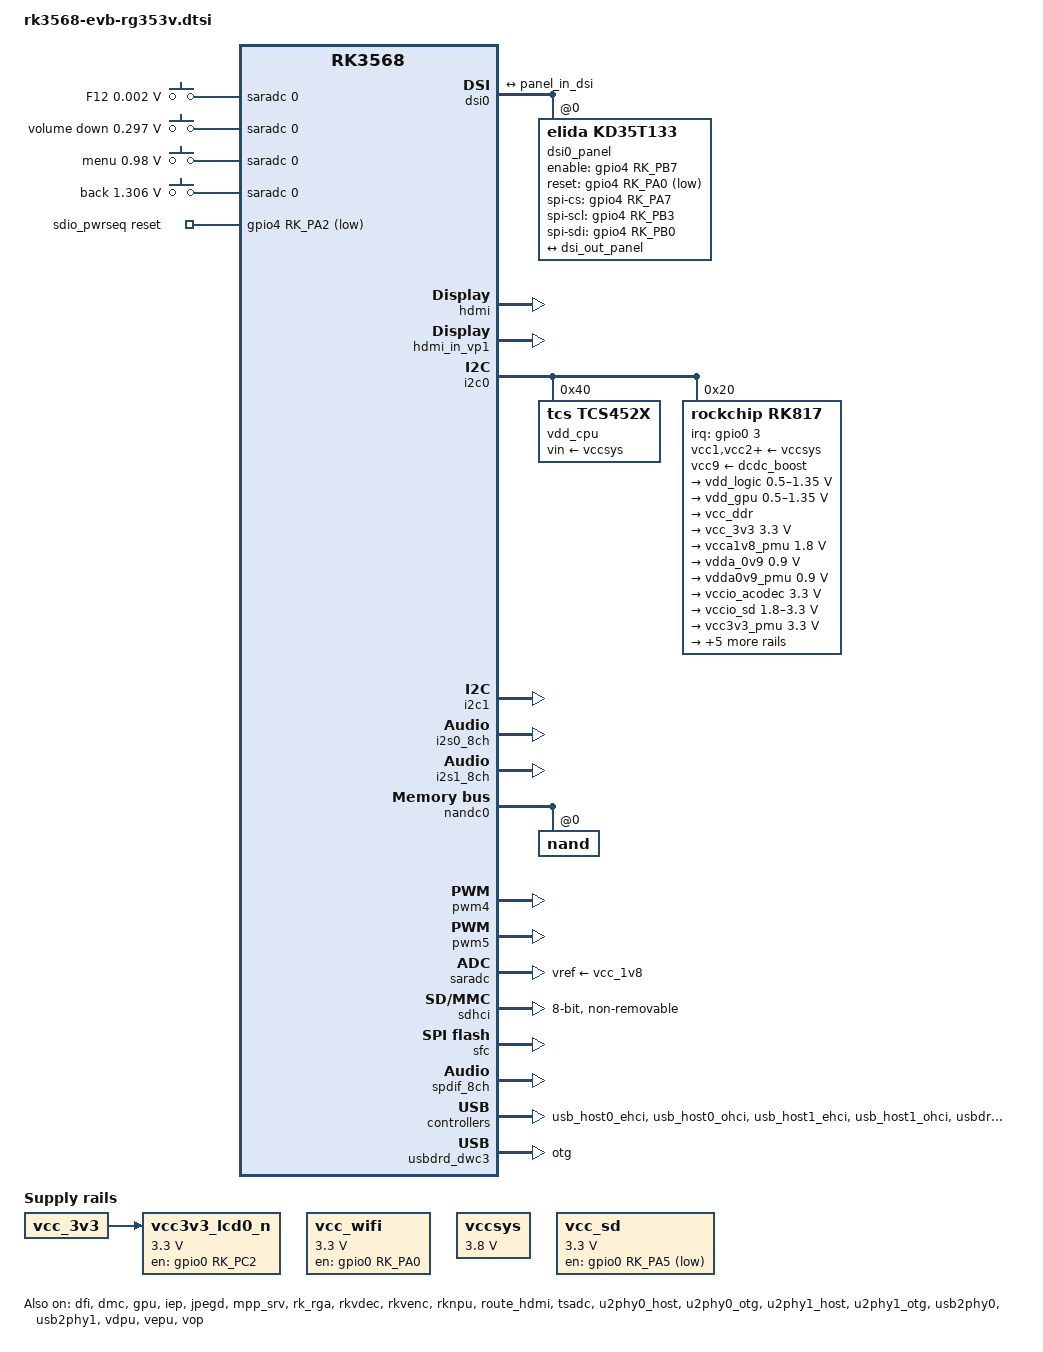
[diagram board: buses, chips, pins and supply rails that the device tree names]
// SPDX-License-Identifier: (GPL-2.0+ OR MIT)
/*
 * Copyright (c) 2020 Rockchip Electronics Co., Ltd.
 *
 */

#include <dt-bindings/gpio/gpio.h>
#include <dt-bindings/pwm/pwm.h>
#include <dt-bindings/pinctrl/rockchip.h>
#include <dt-bindings/input/rk-input.h>
#include <dt-bindings/display/drm_mipi_dsi.h>
#include <dt-bindings/sensor-dev.h>
/ {

	adc_keys: adc-keys {
		compatible = "adc-keys";
		io-channels = <&saradc 0>;
		io-channel-names = "buttons";
		keyup-threshold-microvolt = <1800000>;
		poll-interval = <100>;

		recovery-key {
			label = "F12";
			linux,code = <KEY_F12>;
			press-threshold-microvolt = <1750>;
		};

		vol-down-key {
			label = "volume down";
			linux,code = <KEY_VOLUMEDOWN>;
			press-threshold-microvolt = <297500>;
		};

		menu-key {
			label = "menu";
			linux,code = <KEY_MENU>;
			press-threshold-microvolt = <980000>;
		};

		back-key {
			label = "back";
			linux,code = <KEY_BACK>;
			press-threshold-microvolt = <1305500>;
		};
	};

	audiopwmout_diff: audiopwmout-diff {
		status = "disabled";
		compatible = "simple-audio-card";
		simple-audio-card,format = "i2s";
		simple-audio-card,name = "rockchip,audiopwmout-diff";
		simple-audio-card,mclk-fs = <256>;
		simple-audio-card,bitclock-master = <&master>;
		simple-audio-card,frame-master = <&master>;
		simple-audio-card,cpu {
			sound-dai = <&i2s3_2ch>;
		};
		master: simple-audio-card,codec {
			sound-dai = <&dig_acodec>;
		};
	};

	backlight: backlight {
		compatible = "pwm-backlight";
		pwms = <&pwm4 0 25000 0>;
		brightness-levels = <
			  0   1   2   3   4   5   6   7
			  8   9  10  11  12  13  14  15
			 16  17  18  19  20  21  22  23
			 24  25  26  27  28  29  30  31
			 32  33  34  35  36  37  38  39
			 40  41  42  43  44  45  46  47
			 48  49  50  51  52  53  54  55
			 56  57  58  59  60  61  62  63
			 64  65  66  67  68  69  70  71
			 72  73  74  75  76  77  78  79
			 80  81  82  83  84  85  86  87
			 88  89  90  91  92  93  94  95
			 96  97  98  99 100 101 102 103
			104 105 106 107 108 109 110 111
			112 113 114 115 116 117 118 119
			120 121 122 123 124 125 126 127
			128 129 130 131 132 133 134 135
			136 137 138 139 140 141 142 143
			144 145 146 147 148 149 150 151
			152 153 154 155 156 157 158 159
			160 161 162 163 164 165 166 167
			168 169 170 171 172 173 174 175
			176 177 178 179 180 181 182 183
			184 185 186 187 188 189 190 191
			192 193 194 195 196 197 198 199
			200 201 202 203 204 205 206 207
			208 209 210 211 212 213 214 215
			216 217 218 219 220 221 222 223
			224 225 226 227 228 229 230 231
			232 233 234 235 236 237 238 239
			240 241 242 243 244 245 246 247
			248 249 250 251 252 253 254 255>;
		default-brightness-level = <200>;
		status = "disabled";
	};

	charge-animation {
		compatible = "rockchip,uboot-charge";
		rockchip,uboot-charge-on = <1>; 
		rockchip,android-charge-on = <0>;
		rockchip,uboot-low-power-voltage = <3450>;
		rockchip,screen-on-voltage = <3400>;
		status = "okay";
	};

	hdmi_sound: hdmi-sound {
		compatible = "simple-audio-card";
		simple-audio-card,format = "i2s";
		simple-audio-card,mclk-fs = <128>;
		simple-audio-card,name = "rockchip,hdmi";
		//status = "disabled";
		status = "okay";

		simple-audio-card,cpu {
				sound-dai = <&i2s0_8ch>;
		};
		simple-audio-card,codec {
				sound-dai = <&hdmi>;
		};
	};

	pdmics: dummy-codec {
		status = "disabled";
		compatible = "rockchip,dummy-codec";
		#sound-dai-cells = <0>;
	};

	pdm_mic_array: pdm-mic-array {
		status = "disabled";
		compatible = "simple-audio-card";
		simple-audio-card,name = "rockchip,pdm-mic-array";
		simple-audio-card,cpu {
			sound-dai = <&pdm>;
		};
		simple-audio-card,codec {
			sound-dai = <&pdmics>;
		};
	};
	vcc_wifi: vcc-wifi {
		compatible = "regulator-gpio";
		enable-active-high;
		regulator-always-on;
		regulator-boot-on;		
		enable-gpio = <&gpio0 RK_PA0 GPIO_ACTIVE_HIGH>;
		regulator-min-microvolt = <3300000>;
		regulator-max-microvolt = <3300000>;
		states = <3300000 0x0
			3300000 0x1>;
		pinctrl-names = "default";
		pinctrl-0 = <&vcc_wifi_h>;
		regulator-name = "vcc_wifi";
	};
	rk817-sound {
		status = "okay";
		compatible = "simple-audio-card";
		simple-audio-card,format = "i2s";
		simple-audio-card,name = "rockchip,rk817-codec";
		simple-audio-card,mclk-fs = <256>;

		simple-audio-card,cpu {
			sound-dai = <&i2s1_8ch>;
		};
		simple-audio-card,codec {
			sound-dai = <&rk817_codec>;
		};
	};

	spdif-sound {
		status = "disabled";
		compatible = "simple-audio-card";
		simple-audio-card,name = "ROCKCHIP,SPDIF";
		simple-audio-card,cpu {
				sound-dai = <&spdif_8ch>;
		};
		simple-audio-card,codec {
				sound-dai = <&spdif_out>;
		};
	};

	spdif_out: spdif-out {
			status = "disabled";
			compatible = "linux,spdif-dit";
			#sound-dai-cells = <0>;
	};

	vad_sound: vad-sound {
		status = "disabled";
		compatible = "rockchip,multicodecs-card";
		rockchip,card-name = "rockchip,rk3568-vad";
		rockchip,cpu = <&i2s1_8ch>;
		rockchip,codec = <&rk817_codec>, <&vad>;
	};

	vccsys: vccsys {
		compatible = "regulator-fixed";
		regulator-name = "vcc3v8_sys";
		regulator-always-on;
		regulator-boot-on;
		regulator-min-microvolt = <3800000>;
		regulator-max-microvolt = <3800000>;
	};

	
	vcc3v3_lcd0_n: vcc3v3-lcd0-n {
		compatible = "regulator-fixed";
		regulator-name = "vcc3v3_lcd0_n";
		regulator-boot-on;
		regulator-min-microvolt = <3300000>;
		regulator-max-microvolt = <3300000>;
		enable-active-high;
		gpio = <&gpio0 RK_PC2 GPIO_ACTIVE_HIGH>;
		vin-supply = <&vcc_3v3>;

		regulator-state-mem {
			regulator-off-in-suspend;
		};
	};

	sdio_pwrseq: sdio-pwrseq {
		status = "okay";
		compatible = "mmc-pwrseq-simple";
		clocks = <&rk817 1>;
		clock-names = "ext_clock";
		pinctrl-names = "default";
		pinctrl-0 = <&wifi_enable_h>;

		/*
		 * On the module itself this is one of these (depending
		 * on the actual card populated):
		 * - SDIO_RESET_L_WL_REG_ON
		 * - PDN (power down when low)
		 */
		post-power-on-delay-ms = <200>;
		reset-gpios = <&gpio4 RK_PA2 GPIO_ACTIVE_LOW>;
	};


	vcc_sd: vcc-sd {
		status = "okay";
		compatible = "regulator-gpio";
		enable-active-low;
		enable-gpio = <&gpio0 RK_PA5 GPIO_ACTIVE_LOW>;
		regulator-min-microvolt = <3300000>;
		regulator-max-microvolt = <3300000>;
		pinctrl-names = "default";
		pinctrl-0 = <&vcc_sd_h>;
		regulator-name = "vcc_sd";
		states = <3300000 0x0
			3300000 0x1>;
	};
};

/*
&bus_npu {
	bus-supply = <&vdd_logic>;
	pvtm-supply = <&vdd_cpu>;
	status = "okay";
};*/

&can0 {
	assigned-clocks = <&cru CLK_CAN0>;
	assigned-clock-rates = <150000000>;
	pinctrl-names = "default";
	pinctrl-0 = <&can0m1_pins>;
	status = "disabled";
};

&can1 {
	assigned-clocks = <&cru CLK_CAN1>;
	assigned-clock-rates = <150000000>;
	pinctrl-names = "default";
	pinctrl-0 = <&can1m1_pins>;
	status = "disabled";
};

&can2 {
	assigned-clocks = <&cru CLK_CAN2>;
	assigned-clock-rates = <150000000>;
	pinctrl-names = "default";
	pinctrl-0 = <&can2m1_pins>;
	status = "disabled";
};

&cpu0 {
	cpu-supply = <&vdd_cpu>;
};

&dfi {
	status = "okay";
};

&dmc {
	center-supply = <&vdd_logic>;
	status = "okay";
};

&dsi0 {
	status = "okay";
	//rockchip,lane-rate = <1000>;
	dsi0_panel: panel@0 {
		status = "okay";
		compatible = "elida,kd35t133", "simple-panel-oled-dsi";
		reg = <0>;
		//backlight = <&backlight>;
		//power-supply = <&vcc_lcd>;
		enable-gpios = <&gpio4 RK_PB7 GPIO_ACTIVE_HIGH>;
		reset-gpios = <&gpio4 RK_PA0 GPIO_ACTIVE_LOW>;

		spi-cs-gpios = <&gpio4 RK_PA7 GPIO_ACTIVE_HIGH>;//<&gpio4 RK_PA6 GPIO_ACTIVE_HIGH>;
		spi-scl-gpios = <&gpio4 RK_PB3 GPIO_ACTIVE_HIGH>;     //<&gpio4 RK_PB1 GPIO_ACTIVE_HIGH>;
		spi-sdi-gpios = <&gpio4 RK_PB0 GPIO_ACTIVE_HIGH>;//<&gpio4 RK_PB5 GPIO_ACTIVE_HIGH>;

		pinctrl-names = "default";
		pinctrl-0 = <&lcd_enable_gpio>, <&lcd_rst_gpio>;
		reset-delay-ms = <1>;
		init-delay-ms = <20>; 
		enable-delay-ms = <120>;
		prepare-delay-ms = <2>;
		unprepare-delay-ms = <20>;
		disable-delay-ms = <50>;
		dsi,flags = <(MIPI_DSI_MODE_VIDEO           |
			      MIPI_DSI_MODE_VIDEO_BURST     |
			      MIPI_DSI_MODE_LPM             |
			      MIPI_DSI_MODE_EOT_PACKET)>;
		dsi,format = <MIPI_DSI_FMT_RGB888>;
		dsi,lanes  = <2>;
		rockchip,cmd-type = "spi";
		panel-init-sequence = [
                        15 00 02 ff 30
                        15 00 02 ff 52
                        15 00 02 ff 01
                        15 00 02 e3 00
                        15 00 02 03 40
                        15 00 02 04 00
                        15 00 02 05 03
                        15 00 02 24 12
                        15 00 02 25 1e
                        15 00 02 26 28
                        15 00 02 27 52
                        15 00 02 28 57
                        15 00 02 29 01
                        15 00 02 2a df
                        15 00 02 38 9c
                        15 00 02 39 a7
                        15 00 02 3a 53
                        15 00 02 44 00
                        15 00 02 49 3c
                        15 00 02 59 fe
                        15 00 02 5c 00
                        15 00 02 91 77
                        15 00 02 92 77
                        15 00 02 a0 55
                        15 00 02 a1 50
                        15 00 02 a4 9c
                        15 00 02 a7 02
                        15 00 02 a8 01
                        15 00 02 a9 01
                        15 00 02 aa fc
                        15 00 02 ab 28
                        15 00 02 ac 06
                        15 00 02 ad 06
                        15 00 02 ae 06
                        15 00 02 af 03
                        15 00 02 b0 08
                        15 00 02 b1 26
                        15 00 02 b2 28
                        15 00 02 b3 28
                        15 00 02 b4 33
                        15 00 02 b5 08
                        15 00 02 b6 26
                        15 00 02 b7 08
                        15 00 02 b8 26
                        15 00 02 ff 30
                        15 00 02 ff 52
                        15 00 02 ff 02
                        15 00 02 b0 0b
                        15 00 02 b1 16
                        15 00 02 b2 17
                        15 00 02 b3 2c
                        15 00 02 b4 32
                        15 00 02 b5 3b
                        15 00 02 b6 29
                        15 00 02 b7 40
                        15 00 02 b8 0d
                        15 00 02 b9 05
                        15 00 02 ba 12
                        15 00 02 bb 10
                        15 00 02 bc 12
                        15 00 02 bd 15
                        15 00 02 be 19
                        15 00 02 bf 0e
                        15 00 02 c0 16
                        15 00 02 c1 0a
                        15 00 02 d0 0c
                        15 00 02 d1 17
                        15 00 02 d2 14
                        15 00 02 d3 2e
                        15 00 02 d4 32
                        15 00 02 d5 3c
                        15 00 02 d6 22
                        15 00 02 d7 3d
                        15 00 02 d8 0d
                        15 00 02 d9 07
                        15 00 02 da 13
                        15 00 02 db 13
                        15 00 02 dc 11
                        15 00 02 dd 15
                        15 00 02 de 19
                        15 00 02 df 10
                        15 00 02 e0 17
                        15 00 02 e1 0a
                        15 00 02 ff 30
                        15 00 02 ff 52
                        15 00 02 ff 03
                        15 00 02 00 2a
                        15 00 02 01 2a
                        15 00 02 02 2a
                        15 00 02 03 2a
                        15 00 02 04 61
                        15 00 02 05 80
                        15 00 02 06 c7
                        15 00 02 07 01
                        15 00 02 08 82
                        15 00 02 09 83
                        15 00 02 30 2a
                        15 00 02 31 2a
                        15 00 02 32 2a
                        15 00 02 33 2a
                        15 00 02 34 61
                        15 00 02 35 c5
                        15 00 02 36 80
                        15 00 02 37 23
                        15 00 02 40 82
                        15 00 02 41 83
                        15 00 02 42 80
                        15 00 02 43 81
                        15 00 02 44 11
                        15 00 02 45 f2
                        15 00 02 46 f1
                        15 00 02 47 11
                        15 00 02 48 f4
                        15 00 02 49 f3
                        15 00 02 50 02
                        15 00 02 51 01
                        15 00 02 52 04
                        15 00 02 53 03
                        15 00 02 54 11
                        15 00 02 55 f6
                        15 00 02 56 f5
                        15 00 02 57 11
                        15 00 02 58 f8
                        15 00 02 59 f7
                        15 00 02 7e 02
                        15 00 02 7f 80
                        15 00 02 e0 5a
                        15 00 02 b1 00
                        15 00 02 b4 0e
                        15 00 02 b5 0f
                        15 00 02 b6 04
                        15 00 02 b7 07
                        15 00 02 b8 06
                        15 00 02 b9 05
                        15 00 02 ba 0f
                        15 00 02 c7 00
                        15 00 02 ca 0e
                        15 00 02 cb 0f
                        15 00 02 cc 04
                        15 00 02 cd 07
                        15 00 02 ce 06
                        15 00 02 cf 05
                        15 00 02 d0 0f
                        15 00 02 81 0f
                        15 00 02 84 0e
                        15 00 02 85 0f
                        15 00 02 86 07
                        15 00 02 87 04
                        15 00 02 88 05
                        15 00 02 89 06
                        15 00 02 8a 00
                        15 00 02 97 0f
                        15 00 02 9a 0e
                        15 00 02 9b 0f
                        15 00 02 9c 07
                        15 00 02 9d 04
                        15 00 02 9e 05
                        15 00 02 9f 06
                        15 00 02 a0 00
                        15 00 02 ff 30
                        15 00 02 ff 52
                        15 00 02 ff 02
                        15 00 02 01 01
                        15 00 02 02 da
                        15 00 02 03 ba
                        15 00 02 04 a8
                        15 00 02 05 9a
                        15 00 02 06 70
                        15 00 02 07 ff
                        15 00 02 08 91
                        15 00 02 09 90
                        15 00 02 0a ff
                        15 00 02 0b 8f
                        15 00 02 0c 60
                        15 00 02 0d 58
                        15 00 02 0e 48
                        15 00 02 0f 38
                        15 00 02 10 2b
                        15 00 02 ff 30
                        15 00 02 ff 52
                        15 00 02 ff 00
                        15 00 02 36 02
                        15 00 02 3a 70 05 c8 01 11 05 0a 01 29
		];

		panel-exit-sequence = [
			05 14 01 28
			05 0A 01 10
		];

		disp_timings0: display-timings {
			native-mode = <&dsi0_timing0>;
			dsi0_timing0: timing0 {
				clock-frequency = <33500000>;
				hactive = <960>;
				vactive = <544>;
				hfront-porch = <10>;
				hsync-len = <2>;
				hback-porch = <10>;
				vfront-porch = <10>;
				vsync-len = <2>;
				vback-porch = <10>;
				hsync-active = <0>;
				vsync-active = <0>;
				de-active = <0>;
				pixelclk-active = <0>;
			};
		};

		ports {
			#address-cells = <1>;
			#size-cells = <0>;

			port@0 {
				reg = <0>;
				panel_in_dsi: endpoint {
					remote-endpoint = <&dsi_out_panel>;
				};
			};
		};
	};

	ports {
		#address-cells = <1>;
		#size-cells = <0>;

		port@1 {
			reg = <1>;
			dsi_out_panel: endpoint {
				remote-endpoint = <&panel_in_dsi>;
			};
		};
	};

};

&gpu {
	mali-supply = <&vdd_gpu>;
	status = "okay";
};

&hdmi {
	status = "okay";
	//status = "disabled";
	rockchip,phy-table =
		<92812500  0x8009 0x0000 0x0270>,
		<165000000 0x800b 0x0000 0x026d>,
		<185625000 0x800b 0x0000 0x01ed>,
		<297000000 0x800b 0x0000 0x01ad>,
		<594000000 0x8029 0x0000 0x0088>,
		<000000000 0x0000 0x0000 0x0000>;
};

&hdmi_in_vp0 {
	status = "disabled";
	//status = "disabled";
};

&hdmi_in_vp1 {
	status = "okay";
};

&hdmi_sound {
	status = "okay";
	//status = "disabled";
};

&i2c0 {
	status = "okay";

	vdd_cpu: tcs4525@40 {
		compatible = "tcs,tcs452x";
		reg = <0x40>;
		vin-supply = <&vccsys>;
		regulator-compatible = "fan53555-reg";
		regulator-name = "vdd_cpu";
		regulator-min-microvolt = <712500>;
		regulator-max-microvolt = <1390000>;
		regulator-init-microvolt = <900000>;
		regulator-ramp-delay = <2300>;
		fcs,suspend-voltage-selector = <1>;
		regulator-boot-on;
		regulator-always-on;
		regulator-state-mem {
			regulator-off-in-suspend;
		};
	};

	rk817: pmic@20 {
		compatible = "rockchip,rk817";
		reg = <0x20>;
		interrupt-parent = <&gpio0>;
		interrupts = <3 IRQ_TYPE_LEVEL_LOW>;

		pinctrl-names = "default", "pmic-sleep",
				"pmic-power-off", "pmic-reset";
		pinctrl-0 = <&pmic_int>;
		pinctrl-1 = <&soc_slppin_slp>, <&rk817_slppin_slp>;
		pinctrl-2 = <&soc_slppin_gpio>, <&rk817_slppin_pwrdn>;
		pinctrl-3 = <&soc_slppin_gpio>, <&rk817_slppin_rst>;

		rockchip,system-power-controller;
		wakeup-source;
		#clock-cells = <1>;
		clock-output-names = "rk808-clkout1", "rk808-clkout2";
		//fb-inner-reg-idxs = <2>;
		/* 1: rst regs (default in codes), 0: rst the pmic */
		pmic-reset-func = <0>;
		/* not save the PMIC_POWER_EN register in uboot */
		not-save-power-en = <1>;

		vcc1-supply = <&vccsys>;
		vcc2-supply = <&vccsys>;
		vcc3-supply = <&vccsys>;
		vcc4-supply = <&vccsys>;
		vcc5-supply = <&vccsys>;
		vcc6-supply = <&vccsys>;
		vcc7-supply = <&vccsys>;
		vcc8-supply = <&vccsys>;
		vcc9-supply = <&dcdc_boost>;

		pwrkey {
			status = "okay";
		};

		pinctrl_rk8xx: pinctrl_rk8xx {
			gpio-controller;
			#gpio-cells = <2>;

			rk817_slppin_null: rk817_slppin_null {
				pins = "gpio_slp";
				function = "pin_fun0";
			};

			rk817_slppin_slp: rk817_slppin_slp {
				pins = "gpio_slp";
				function = "pin_fun1";
			};

			rk817_slppin_pwrdn: rk817_slppin_pwrdn {
				pins = "gpio_slp";
				function = "pin_fun2";
			};

			rk817_slppin_rst: rk817_slppin_rst {
				pins = "gpio_slp";
				function = "pin_fun3";
			};
		};

		regulators {
			vdd_logic: DCDC_REG1 {
				regulator-always-on;
				regulator-boot-on;
				regulator-min-microvolt = <500000>;
				regulator-max-microvolt = <1350000>;
				regulator-init-microvolt = <900000>;
				regulator-ramp-delay = <6001>;
				regulator-initial-mode = <0x2>;
				regulator-name = "vdd_logic";
				regulator-state-mem {
					regulator-off-in-suspend;
					regulator-suspend-microvolt = <900000>;
				};
			};

			vdd_gpu: DCDC_REG2 {
				regulator-always-on;
				regulator-boot-on;
				regulator-min-microvolt = <500000>;
				regulator-max-microvolt = <1350000>;
				regulator-init-microvolt = <900000>;
				regulator-ramp-delay = <6001>;
				regulator-initial-mode = <0x2>;
				regulator-name = "vdd_gpu";
				regulator-state-mem {
					regulator-off-in-suspend;
				};
			};

			vcc_ddr: DCDC_REG3 {
				regulator-always-on;
				regulator-boot-on;
				regulator-initial-mode = <0x2>;
				regulator-name = "vcc_ddr";
				regulator-state-mem {
					regulator-on-in-suspend;
				};
			};

			vcc_3v3: DCDC_REG4 {
				regulator-always-on;
				regulator-boot-on;
				regulator-min-microvolt = <3300000>;
				regulator-max-microvolt = <3300000>;
				regulator-initial-mode = <0x2>;
				regulator-name = "vcc_3v3";
				regulator-state-mem {
					regulator-on-in-suspend;
					regulator-suspend-microvolt = <3300000>;
				};
			};

			vcca1v8_pmu: LDO_REG1 {
				regulator-always-on;
				regulator-boot-on;
				regulator-min-microvolt = <1800000>;
				regulator-max-microvolt = <1800000>;
				regulator-name = "vcca1v8_pmu";
				regulator-state-mem {
					regulator-on-in-suspend;
					regulator-suspend-microvolt = <1800000>;
				};
			};

			vdda_0v9: LDO_REG2 {
				regulator-always-on;
				regulator-boot-on;
				regulator-min-microvolt = <900000>;
				regulator-max-microvolt = <900000>;
				regulator-name = "vdda_0v9";
				regulator-state-mem {
					regulator-off-in-suspend;
				};
			};

			vdda0v9_pmu: LDO_REG3 {
				regulator-always-on;
				regulator-boot-on;
				regulator-min-microvolt = <900000>;
				regulator-max-microvolt = <900000>;
				regulator-name = "vdda0v9_pmu";
				regulator-state-mem {
					regulator-on-in-suspend;
					regulator-suspend-microvolt = <900000>;
				};
			};

			vccio_acodec: LDO_REG4 {
				regulator-always-on;
				regulator-boot-on;
				regulator-min-microvolt = <3300000>;
				regulator-max-microvolt = <3300000>;
				regulator-name = "vccio_acodec";
				regulator-state-mem {
					regulator-off-in-suspend;
				};
			};

			vccio_sd: LDO_REG5 {
				regulator-always-on;
				regulator-boot-on;
				regulator-min-microvolt = <1800000>;
				regulator-max-microvolt = <3300000>;
				regulator-name = "vccio_sd";
				regulator-state-mem {
					regulator-off-in-suspend;
				};
			};

			vcc3v3_pmu: LDO_REG6 {
				regulator-always-on;
				regulator-boot-on;
				regulator-min-microvolt = <3300000>;
				regulator-max-microvolt = <3300000>;
				regulator-name = "vcc3v3_pmu";
				regulator-state-mem {
					regulator-on-in-suspend;
					regulator-suspend-microvolt = <3000000>;
				};
			};

			vcc_1v8: LDO_REG7 {
				regulator-always-on;
				regulator-boot-on;
				regulator-min-microvolt = <1800000>;
				regulator-max-microvolt = <1800000>;
				regulator-name = "vcc_1v8";
				regulator-state-mem {
					regulator-off-in-suspend;
				};
			};

			vcc1v8_dvp: LDO_REG8 {
				regulator-always-on;
				regulator-boot-on;
				regulator-min-microvolt = <1800000>;
				regulator-max-microvolt = <3300000>;
				regulator-name = "vcc1v8_dvp";
				regulator-state-mem {
					regulator-off-in-suspend;
				};
			};

			vcc2v8_dvp: LDO_REG9 {
				regulator-always-on;
				regulator-boot-on;
				regulator-min-microvolt = <2800000>;
				regulator-max-microvolt = <2800000>;
				regulator-name = "vcc2v8_dvp";
				regulator-state-mem {
					regulator-off-in-suspend;
				};
			};

			dcdc_boost: BOOST {
				regulator-always-on;
				regulator-boot-on;
				regulator-min-microvolt = <4700000>;
				regulator-max-microvolt = <5400000>;
				regulator-name = "boost";
				regulator-state-mem {
					regulator-off-in-suspend;
				};
			};

			otg_switch: OTG_SWITCH {
				regulator-name = "otg_switch";
				regulator-state-mem {
					regulator-off-in-suspend;
				};
			};

		};

		battery {
		   compatible = "rk817,battery";
		   ocv_table = <3400 3438 3479 3519 3550 3578 3598
				3613 3629 3647 3672 3713 3762 3807
				3852 3895 3939 3990 4035 4092 4172>;
		   design_capacity = <3151>;
		   design_qmax = <3465>;
		   bat_res = <117>;
		   sleep_enter_current = <300>;
		   sleep_exit_current = <300>;
		   sleep_filter_current = <100>;
		   power_off_thresd = <3400>;
		   zero_algorithm_vol = <3850>;
		   max_soc_offset = <60>;
		   monitor_sec = <5>;
		   sample_res = <10>;
		   virtual_power = <0>;
		};

		charger {
			compatible = "rk817,charger";
			min_input_voltage = <4500>;
			max_input_current = <1800>;
			max_chrg_current = <2000>;
			max_chrg_voltage = <4200>;
			chrg_term_mode = <0>;
			chrg_finish_cur = <300>;
			virtual_power = <0>;
			dc_det_adc = <0>;
			extcon = <&usb2phy0>;
		};

		rk817_codec: codec {
			#sound-dai-cells = <0>;
			compatible = "rockchip,rk817-codec";
			clocks = <&cru I2S1_MCLKOUT>;
			clock-names = "mclk";
			assigned-clocks = <&cru I2S1_MCLKOUT>, <&cru I2S1_MCLK_TX_IOE>;
			assigned-clock-rates = <12288000>;
			assigned-clock-parents = <&cru I2S1_MCLKOUT_TX>, <&cru I2S1_MCLKOUT_TX>;
			pinctrl-names = "default";
			pinctrl-0 = <&i2s1m0_mclk>;
			hp-volume = <20>;
			spk-volume = <3>;

                        spk-ctl-gpios = <&gpio4 RK_PC2 GPIO_ACTIVE_HIGH>;
			status = "okay";
		};
	};
	es8316: es8316@10 {
	        status = "disabled";
		#sound-dai-cells = <0>;
		compatible = "everest,es8316";
		reg = <0x10>;
		clocks = <&cru I2S1_MCLKOUT>;
		clock-names = "mclk";
		assigned-clocks = <&cru I2S1_MCLKOUT>, <&cru I2S1_MCLK_TX_IOE>;
		assigned-clock-rates = <11289600>;
		assigned-clock-parents = <&cru I2S1_MCLKOUT_TX>, <&cru I2S1_MCLKOUT_TX>;
		pinctrl-names = "default";
		pinctrl-0 = <&i2s1m0_mclk>;
		hp-det-gpio = <&gpio4 RK_PC6 GPIO_ACTIVE_HIGH>;		
		spk-con-gpio = <&gpio4 RK_PC2 GPIO_ACTIVE_HIGH>;
	};
};

&i2c1 {
	status = "okay";
};

&i2c5 {
	status = "disabled";
};

&i2s0_8ch {
	status = "okay";
};

&i2s1_8ch {
	status = "okay";
	rockchip,clk-trcm = <1>;
	pinctrl-names = "default";
	pinctrl-0 = <&i2s1m0_sclktx
		     &i2s1m0_lrcktx
		     &i2s1m0_sdi0
		     &i2s1m0_sdo0>;
};

&iep {
	status = "okay";
};

&iep_mmu {
	status = "okay";
};

&jpegd {
	status = "okay";
};

&jpegd_mmu {
	status = "okay";
};

&mpp_srv {
	status = "okay";
};

&nandc0 {
	#address-cells = <1>;
	#size-cells = <0>;
	status = "okay";

	nand@0 {
		reg = <0>;
		nand-bus-width = <8>;
		nand-ecc-mode = "hw";
		nand-ecc-strength = <16>;
		nand-ecc-step-size = <1024>;
	};
};

&pinctrl {
	lcd {
		lcd_rst_gpio: lcd-rst-gpio {
			rockchip,pins = <4 RK_PA0 RK_FUNC_GPIO &pcfg_pull_none>;
			
			
		};

		lcd_enable_gpio: lcd-enable-gpio {
			rockchip,pins = <0 RK_PC2 RK_FUNC_GPIO &pcfg_pull_none>,
					/* spi sdi */
					<4 RK_PB7 RK_FUNC_GPIO &pcfg_pull_none>,
					/* spi scl */
					<4 RK_PB0 RK_FUNC_GPIO &pcfg_pull_none>,
					/* spi cs */
					<4 RK_PB3 RK_FUNC_GPIO &pcfg_pull_none>;	
		};

	};

	pmic {
		pmic_int: pmic_int {
			rockchip,pins =
				<0 RK_PA3 RK_FUNC_GPIO &pcfg_pull_up>;
		};

		soc_slppin_gpio: soc_slppin_gpio {
			rockchip,pins =
				<0 RK_PA2 RK_FUNC_GPIO &pcfg_output_low>;
		};

		soc_slppin_slp: soc_slppin_slp {
			rockchip,pins =
				<0 RK_PA2 1 &pcfg_pull_up>;
		};

		soc_slppin_rst: soc_slppin_rst {
			rockchip,pins =
				<0 RK_PA2 2 &pcfg_pull_none>;
		};
	};

	touch {
		touch_gpio: touch-gpio {
			rockchip,pins =
				<0 RK_PB5 RK_FUNC_GPIO &pcfg_pull_up>,
				<0 RK_PB6 RK_FUNC_GPIO &pcfg_pull_none>;
		};
	};

	vcc-sd {
		vcc_sd_h: vcc-sd-h {
			rockchip,pins = <0 RK_PA5 RK_FUNC_GPIO &pcfg_pull_none>;
		};
	};
};

 /*
  * There are 10 independent IO domains in RK3566/RK3568, including PMUIO[0:2] and VCCIO[1:7].
  * 1/ PMUIO0 and PMUIO1 are fixed-level power domains which cannot be configured;
  * 2/ PMUIO2 and VCCIO1,VCCIO[3:7] domains require that their hardware power supply voltages
  *    must be consistent with the software configuration correspondingly
  *	a/ When the hardware IO level is connected to 1.8V, the software voltage configuration
  *	   should also be configured to 1.8V accordingly;
  *	b/ When the hardware IO level is connected to 3.3V, the software voltage configuration
  *	   should also be configured to 3.3V accordingly;
  * 3/ VCCIO2 voltage control selection (0xFDC20140)
  *	BIT[0]: 0x0: from GPIO_0A7 (default)
  *	BIT[0]: 0x1: from GRF
  *    Default is determined by Pin FLASH_VOL_SEL/GPIO0_A7:
  *	L:VCCIO2 must supply 3.3V
  *	H:VCCIO2 must supply 1.8V
  */
&pmu_io_domains {
	status = "okay";
	pmuio1-supply = <&vcc3v3_pmu>;
	pmuio2-supply = <&vcc3v3_pmu>;
	vccio1-supply = <&vccio_acodec>;
	vccio3-supply = <&vccio_sd>;
	vccio4-supply = <&vcc_1v8>;
	vccio5-supply = <&vcc_3v3>;
	vccio6-supply = <&vcc_1v8>;
	vccio7-supply = <&vcc_3v3>;
};

&pwm4 {
	status = "okay";
};

&pwm5 {
	status = "okay";
};

&rk_rga {
	status = "okay";
};

&rkvdec {
	status = "okay";
};

&rkvdec_mmu {
	status = "okay";
};

&rkvenc {
	venc-supply = <&vdd_logic>;
	status = "okay";
};

&rkvenc_mmu {
	status = "okay";
};

&rknpu {
	rknpu-supply = <&vdd_gpu>;
	status = "okay";
};

&rknpu_mmu {
	status = "okay";
};

&route_hdmi {
	status = "okay";
	connect = <&vp1_out_hdmi>;
};

&saradc {
	status = "okay";
	vref-supply = <&vcc_1v8>;
};

&sdhci {
	bus-width = <8>;
	supports-emmc;
	non-removable;
	max-frequency = <200000000>;
	status = "okay";
};

&sfc {
	status = "okay";
};

&spdif_8ch {
	status = "okay";
};

&tsadc {
	status = "okay";
};

&u2phy0_host {
//	phy-supply = <&vcc5v0_host>;
	status = "okay";
};

&u2phy0_otg {
//	vbus-supply = <&vcc5v0_otg>;
	status = "okay";
};

&u2phy1_host {
//	phy-supply = <&vcc5v0_host>;
	status = "okay";
};

&u2phy1_otg {
//	phy-supply = <&vcc5v0_host>;
	status = "okay";
};

&usb2phy0 {
	status = "okay";
};

&usb2phy1 {
	status = "okay";
};

&usb_host0_ehci {
	status = "okay";
};

&usb_host0_ohci {
	status = "okay";
};

&usb_host1_ehci {
	status = "okay";
};

&usb_host1_ohci {
	status = "okay";
};

&usbdrd_dwc3 {
	dr_mode = "otg";
	extcon = <&usb2phy0>;
	status = "okay";
};

&usbdrd30 {
	status = "okay";
};

&usbhost_dwc3 {
	status = "okay";
};

&usbhost30 {
	status = "okay";
};

&vad {
	rockchip,audio-src = <&i2s1_8ch>;
	rockchip,buffer-time-ms = <128>;
	rockchip,det-channel = <0>;
	rockchip,mode = <0>;
};

&vdpu {
	status = "okay";
};

&vdpu_mmu {
	status = "okay";
};

&vepu {
	status = "okay";
};

&vepu_mmu {
	status = "okay";
};

&vop {
	status = "okay";
	assigned-clocks = <&cru DCLK_VOP0>, <&cru DCLK_VOP1>;
	assigned-clock-parents = <&pmucru PLL_HPLL>, <&cru PLL_VPLL>;
};

&vop_mmu {
	status = "okay";
};
